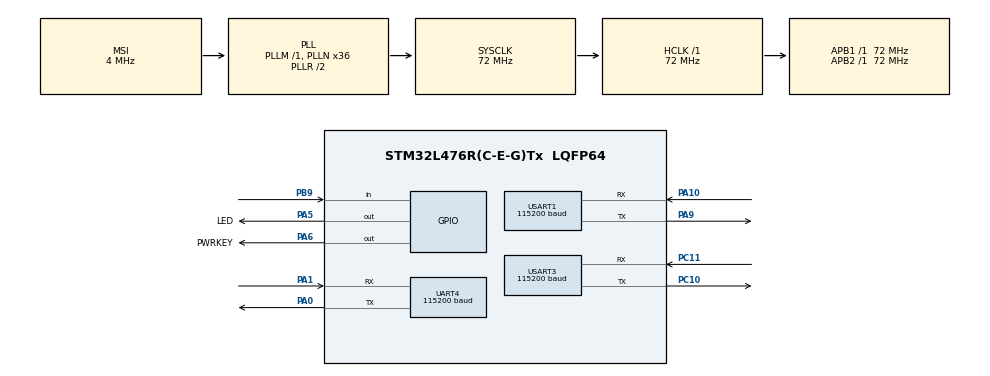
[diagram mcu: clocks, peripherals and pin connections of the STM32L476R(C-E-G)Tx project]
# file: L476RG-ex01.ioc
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Mcu.Family=STM32L4
RCC.MSI_VALUE=4000000
PA14\ (JTCK-SWCLK).Mode=Trace_Asynchronous_SW
RCC.CortexFreq_Value=72000000
PA10.Mode=Asynchronous
PH0-OSC_IN\ (PH0).Signal=RCC_OSC_IN
USART1.BaudRate=115200
PC10.Signal=USART3_TX
PC11.Signal=USART3_RX
PC10.Mode=Asynchronous
PC15-OSC32_OUT\ (PC15).Signal=RCC_OSC32_OUT
PA6.GPIO_Label=PWRKEY
PC15-OSC32_OUT\ (PC15).Mode=LSE-External-Oscillator
PH1-OSC_OUT\ (PH1).Signal=RCC_OSC_OUT
RCC.SYSCLKSource=RCC_SYSCLKSOURCE_PLLCLK
ProjectManager.StackSize=0x400
PB3\ (JTDO-TRACESWO).Signal=SYS_JTDO-SWO
PC14-OSC32_IN\ (PC14).Mode=LSE-External-Oscillator
USART3.VirtualMode-Asynchronous=VM_ASYNC
PA14\ (JTCK-SWCLK).Signal=SYS_JTCK-SWCLK
USART1.VirtualMode-Asynchronous=VM_ASYNC
PA9.Mode=Asynchronous
VP_SYS_VS_tim3.Mode=TIM3
USART3.BaudRate=115200
ProjectManager.TargetToolchain=STM32CubeIDE
UART4.BaudRate=115200
RCC.HCLKFreq_Value=72000000
RCC.APB2TimFreq_Value=72000000
PA9.Signal=USART1_TX
RCC.USBFreq_Value=16000000
PA1.Signal=UART4_RX
RCC.AHBFreq_Value=72000000
PA5.Signal=GPIO_Output
PH1-OSC_OUT\ (PH1).Mode=HSE-External-Oscillator
RCC.HSE_VALUE=8000000
board=custom
RCC.VCOOutputFreq_Value=144000000
NVIC.TIM3_IRQn=true\:5\:0\:true\:false\:true\:false\:true
RCC.APB2Freq_Value=72000000
PA1.Mode=Asynchronous
PB3\ (JTDO-TRACESWO).Mode=Trace_Asynchronous_SW
USART1.OverrunDisableParam=ADVFEATURE_OVERRUN_DISABLE
RCC.ADCFreq_Value=16000000
PA0.Mode=Asynchronous
Mcu.Name=STM32L476R(C-E-G)Tx
PA0.Signal=UART4_TX
PA13\ (JTMS-SWDIO).Mode=Trace_Asynchronous_SW
RCC.SYSCLKFreq_VALUE=72000000
Mcu.Package=LQFP64
PB9.Signal=GPIO_Input
PA6.Signal=GPIO_Output
NVIC.TimeBase=TIM3_IRQn
PA5.GPIO_Label=LED
PC14-OSC32_IN\ (PC14).Signal=RCC_OSC32_IN
NVIC.TimeBaseIP=TIM3
PA10.Signal=USART1_RX
ProjectManager.HeapSize=0x200
PC11.Mode=Asynchronous
USART1.DMADisableonRxErrorParam=ADVFEATURE_DMA_DISABLEONRXERROR
RCC.HSI_VALUE=16000000
USART3.DMADisableonRxErrorParam=ADVFEATURE_DMA_DISABLEONRXERROR
NVIC.PriorityGroup=NVIC_PRIORITYGROUP_4
RCC.PLLN=36
RCC.APB1TimFreq_Value=72000000
USART3.OverrunDisableParam=ADVFEATURE_OVERRUN_DISABLE
PA13\ (JTMS-SWDIO).Signal=SYS_JTMS-SWDIO
RCC.APB1Freq_Value=72000000
USART1.SwapParam=ADVFEATURE_SWAP_DISABLE
PH0-OSC_IN\ (PH0).Mode=HSE-External-Oscillator

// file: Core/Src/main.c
/* USER CODE BEGIN Header */
/**
  ******************************************************************************
  * @file           : main.c
  * @brief          : Main program body
  ******************************************************************************
  * @attention
  *
  * <h2><center>&copy; Copyright (c) 2021 STMicroelectronics.
  * All rights reserved.</center></h2>
  *
  * This software component is licensed by ST under BSD 3-Clause license,
  * the "License"; You may not use this file except in compliance with the
  * License. You may obtain a copy of the License at:
  *                        opensource.org/licenses/BSD-3-Clause
  *
  ******************************************************************************
  */
/* USER CODE END Header */
#include "main.h"

/* USER CODE BEGIN Includes */
#include <string.h> //strlen
#include <stdio.h> //printf
#include <stdlib.h> //printf
#include <stdbool.h>
#include <stdint.h>
#include <inttypes.h>

/* USER CODE END Includes */

/* USER CODE BEGIN PTD */
uint8_t debug = 1;
/* USER CODE END PTD */

UART_HandleTypeDef huart4;
UART_HandleTypeDef huart1;
UART_HandleTypeDef huart3;

void SystemClock_Config(void);
static void MX_GPIO_Init(void);
static void MX_UART4_Init(void);
static void MX_USART1_UART_Init(void);
static void MX_USART3_UART_Init(void);
/* USER CODE BEGIN PFP */
int _write(int file, char *ptr, int len)
 {
	 int DataIdx;
	 for (DataIdx = 0; DataIdx < len; DataIdx++)
	 {
		 ITM_SendChar(*ptr++);
	 }
	 HAL_Delay(500);
	 return len;
 }
//int _write(int file, char *ptr, int len){
//  HAL_UART_Transmit(&huart4, (uint8_t *)ptr, len, 0xff);
//  return len;
//}
/* USER CODE END PFP */

/* USER CODE BEGIN 0 */
int i=0,j=0,k=0,l=0;
int cnt1=0, cnt2=0, cnt3=0, cnt4=0, cnt5=0;
bool uart3done, uart4busy, uart3disc;
bool usemqtt,uart4done;
int cntpok=0;
int bugint;
char uart4_at[20];

char csq[20],cgatt[27];
uint8_t csqint,cgattint,smstateint,secmin1;
int signal;
char *networkstr;
char *smstatestr;
char *ATSMSTATE="AT+SMSTATE?\r\n";
char *ATSMPUB;
char * temp_data;
char * temp_data2;
uint8_t * uart_uint8t;

uint8_t rxavailable=0;

char uart1_temp[1100],uart1_buf[0],uart1_data[1100];
char uart3_temp[1100],uart3_buf[0],uart3_data[1100];
char uart4_temp[1100],uart4_buf[0],uart4_data[1100];
char uart5_temp[1100],uart5_buf[0],uart5_data[1100];
char buffer[1100], buffer_mdm[1100];
//char buffer1[1100];
//char buffer3[1100];
//char buffer4[1100];
//char buffer5[1100];

void SerialATprintln(char ptr[], uint32_t len, uint32_t timeout){
	uint8_t ptr1[len+2];
	memcpy(ptr1, ptr, len);
	ptr1[len]= '\r';
	ptr1[len+1]= '\n';
	HAL_UART_Transmit(&huart1, (uint8_t *) ptr1, len+2, timeout);
}

void hard_reset_mdm(){
	  HAL_GPIO_WritePin(PWRKEY_GPIO_Port, PWRKEY_Pin, GPIO_PIN_RESET);
	  HAL_Delay(1000);
	  HAL_GPIO_WritePin(PWRKEY_GPIO_Port, PWRKEY_Pin, GPIO_PIN_SET);
}

int datauart3size(char buf[])
{
	int i = 0;
	while(buf[i] != 0x03) i++;
	return i+1;
}

int bufsize(char *buf)
{
	int i = 0;
	while(*buf++ != '\0') i++;
	return i;
}

int bufsizechararray(char buf[])
{
	int i = 0;
	while(buf[i] != '\0') i++;
	return i+1;
}

//void bufclear(void)
//{
//	for (int i=0; i < 1024; i++)
//	{
//		buffer[i] = '\0';
//		mydata[i] = '\0';
//	}
//}

///////////////////// MODEM FUNCTION
void ATCOMMAND(char *command, char* res)
{
//	char respond[120] = {0};
//	char *ptr= strstr(respond,res);
//	while(ptr == NULL){
	memset(buffer,0,1100);
	HAL_UART_Transmit(&huart1,(uint8_t *)command,strlen(command),0xff);
	HAL_UART_Receive(&huart1,(uint8_t *)buffer,1100,500);
//	ptr = strstr(respond,res);
//	}
//	printf("%s\r\n",respond);
	printf(buffer);
	printf("\r\n");

}

void ATCOMMANDLong(char *command, char* res)
{

//	char *ptr= strstr(respond,res);
//	while(ptr == NULL){
	memset(buffer,0,1100);
	HAL_UART_Transmit(&huart1,(uint8_t *)command,strlen(command),0xff);
	HAL_UART_Receive(&huart1,(uint8_t *)buffer,1100,2000);
//	ptr = strstr(respond,res);
//	}
	printf(buffer);
	printf("\r\n");
}

void ATCOMMAND_IT(char *command)
{
	HAL_UART_Transmit(&huart1,(uint8_t *)command,strlen(command),0xff);
}

void modem_reset_rtos()
{
	printf("\r\nModem Reboot\r\n");

	SerialATprintln("AT+CREBOOT", 10, 0xff);
	osDelay(4000);
//	for(int y=0;y<40;y++){
//		osDelay(200);
//		if(uart2done)break;
//	}

	printf("\r\nNBIOT Setup\r\n");

	char at[]="AT\r\n";
	SerialATprintln(at,2,0xff);
	osDelay(1000);

	char cpin[]="AT+CPIN?";
	SerialATprintln(cpin,8,0xff);
	osDelay(1000);

	char csq[]="AT+CSQ";
	SerialATprintln(csq,6,0xff);
	osDelay(1000);

	char creg[]="AT+CREG=1";
	SerialATprintln(creg,9,0xff);
	osDelay(1000);

	char cgreg[]="AT+CGREG=1";
	SerialATprintln(cgreg,10,0xff);
	osDelay(1000);

	char cgatt1[]="AT+CGATT=1";
	SerialATprintln(cgatt1,9,0xff);
	osDelay(1000);

	char cgatt[]="AT+CGATT?";
	SerialATprintln(cgatt,9,0xff);
	osDelay(1000);

	char cops[]="AT+COPS?";
	SerialATprintln(cops,8,0xff);
	osDelay(1000);

	char cgnapn[]="AT+CGNAPN";
	SerialATprintln(cgnapn,9,0xff);
	osDelay(1000);

//	char cgdcont[]="AT+CGDCONT=1,\"IP\",\"internet\"\r\n";
	char cgdcont[]="AT+CGDCONT=1,\"IP\",\"nb1internet\"";
	SerialATprintln(cgdcont,31,0xff);
	osDelay(1000);

	char cgdcont1[]="AT+CGDCONT?";
	SerialATprintln(cgdcont1,11,0xff);
	osDelay(1000);

	char cnact1[]="AT+CNACT=0,1";
	SerialATprintln(cnact1,12,0xff);
	osDelay(1000);

	printf("NBIOT done\r\n");
}
void NBIOT_setup(void)
{
	printf("\r\nNBIOT setup\r\n");

	char at[]="AT\r\n";
	char at_cmp[] = "OK";
	ATCOMMAND(at,at_cmp);

//	char ate[]="ATE0\r\n";
//	char ate_cmp[] = "OK";
//	ATCOMMAND(ate,ate_cmp);

	char cpin[]="AT+CPIN?\r\n";
	char cpin_cmp[] = "+CPIN:";
	ATCOMMAND(cpin,cpin_cmp);

	char csq[]="AT+CSQ\r\n";
	char csq_cmp[] = "+CSQ:";
	ATCOMMAND(csq,csq_cmp);

	char creg[]="AT+CREG?\r\n";
	char creg_cmp[] = "+CREG";
	ATCOMMAND(creg,creg_cmp);

	char cgreg[]="AT+CGREG?\r\n";
	char cgreg_cmp[] = "+CGREG";
	ATCOMMAND(cgreg,cgreg_cmp);

//	char cgatt1[]="AT+CGATT=1\r\n";
//	char cgatt1_cmp[] = "+CGATT";
//	ATCOMMAND(cgatt1,cgatt1_cmp);

	char cgatt[]="AT+CGATT?\r\n";
	char cgatt_cmp[] = "+CGATT:";
	ATCOMMAND(cgatt,cgatt_cmp);

	char cops[]="AT+COPS?\r\n";
	char cops_cmp[] = "+COPS:";
	ATCOMMAND(cops,cops_cmp);

	bearer_config();

	http_request();

	printf("NBIOT done\r\n");
}

void NBIOT_setup_IT(void)
{
	printf("\r\nNBIOT setup\r\n");

	SerialATprintln("AT",2,0xff);
	HAL_Delay(500);

	SerialATprintln("AT+CPIN",7,0xff);
	HAL_Delay(500);

	SerialATprintln("AT+CSQ",6,0xff);
	HAL_Delay(500);
/*
	SerialATprintln("AT+CREG=1",9,0xff);
	HAL_Delay(500);

	SerialATprintln("AT+CGREG=1",10,0xff);
	HAL_Delay(500);

	SerialATprintln("AT+CGATT=1",10,0xff);
	HAL_Delay(500);

	SerialATprintln("AT+CGATT?",9,0xff);
	HAL_Delay(500);

	SerialATprintln("AT+COPS?",8,0xff);
	HAL_Delay(500);

	char cgnapn[]="AT+CGNAPN\r\n";
	char cgnapn_cmp[] = "+CGNAPN:";
	SerialATprintln("AT+CGNAPN",9,0xff);
	HAL_Delay(500);

//	char cgdcont[]="AT+CGDCONT=1,\"IP\",\"internet\"\r\n";
	SerialATprintln("AT+CGDCONT=1,\"IP\",\"nb1internet\"",31,0xff);
	HAL_Delay(500);

	SerialATprintln("AT+CGDCONT?",11,0xff);
	HAL_Delay(500);

	SerialATprintln("AT+CGNACT=0,1",13,0xff);
	HAL_Delay(500);
*/
	printf("NBIOT done\r\n");
}

void bearer_config(void)
{
	printf("\r\nBearer setup\r\n");

	memset(uart4_at,0,20);
//	char at[]="AT\r\n";
////	ATCOMMAND_IT(at);
//	ATCOMMAND(at,at);
//	HAL_Delay(1000);

	char cgatt[]="AT+CGATT?\r\n";
//	ATCOMMAND_IT(cgatt);
	ATCOMMAND(cgatt,cgatt);
	HAL_Delay(1000);

	char csq[]="AT+SAPBR=0,1\r\n";
//	ATCOMMAND_IT(csq);
	ATCOMMAND(csq,csq);
	HAL_Delay(500);

	char ate[]="AT+SAPBR=3,1,\"Contype\",\"GPRS\"\r\n";
//	ATCOMMAND_IT(ate);
	ATCOMMAND(ate,ate);
	HAL_Delay(500);

	char cpin[]="AT+SAPBR=3,1,\"APN\",\"nb1internet\"\r\n";
//	ATCOMMAND_IT(cpin);
	ATCOMMAND(cpin,cpin);
	HAL_Delay(500);

	char creg[]="AT+SAPBR=1,1\r\n";
//	ATCOMMAND_IT(creg);
//	ATCOMMAND(creg,creg);
	ATCOMMANDLong(creg,creg);
	HAL_Delay(500);

	char cgreg[]="AT+SAPBR=2,1\r\n";
//	ATCOMMAND_IT(cgreg);
//	ATCOMMAND(cgreg,cgreg);
	ATCOMMANDLong(cgreg,cgreg);
	HAL_Delay(500);

	printf("Bearer Config done\r\n");
}

void http_request(void)
{
	printf("\r\nHTTP Request\r\n");

	memset(uart4_at,0,20);
//	char at[]="AT\r\n";
//	char at_cmp[] = "OK";
////	ATCOMMAND_IT(at);
//	ATCOMMAND(at,at);
//	HAL_Delay(1000);

	char cgatt[]="AT+HTTPINIT\r\n";
	char cgatt_cmp[] = "+CGATT:";
//	ATCOMMAND_IT(cgatt);
	ATCOMMAND(cgatt,cgatt);
	HAL_Delay(500);

	char ate[]="AT+HTTPPARA=\"CID\",1\r\n";
//	ATCOMMAND_IT(ate);
	ATCOMMAND(ate,ate);
	HAL_Delay(1000);

	char cpin[]="AT+HTTPPARA=\"URL\",\"www.flexisolve.com/bs/index.php/sensor/testing\"\r\n";
//	ATCOMMAND_IT(cpin);
	ATCOMMANDLong(cpin,cpin);
//	HAL_Delay(500);

	char csq[]="AT+HTTPACTION=0\r\n";
//	ATCOMMAND_IT(csq);
	ATCOMMANDLong(csq,csq);
	HAL_Delay(3000);

//	sprintf(uart4_at,"AT+HTTPREAD");
	char creg[]="AT+HTTPREAD\r\n";
//	ATCOMMAND_IT(creg);
	ATCOMMANDLong(creg,creg);
	HAL_Delay(2000);

	char cgreg[]="AT+HTTPTERM\r\n";
	//	ATCOMMAND_IT(cgreg);
	ATCOMMAND(cgreg,cgreg);
	HAL_Delay(1000);

	printf("HTTP REQ done\r\n");
}

/* USER CODE END 0 */

int main(void)
{
  /* USER CODE BEGIN 1 */
//	int x;
  /* USER CODE END 1 */

  /* MCU Configuration--------------------------------------------------------*/

  /* Reset of all peripherals, Initializes the Flash interface and the Systick. */
  HAL_Init();

  /* Configure the system clock */
  SystemClock_Config();

  /* Initialize all configured peripherals */
  MX_GPIO_Init();
  MX_UART4_Init();
  MX_USART1_UART_Init();
  MX_USART3_UART_Init();
  /* USER CODE BEGIN 2 */
  if(debug==1) printf("START\r\n please wait Modem Starting in 10s\r\n");
//  HAL_UART_Transmit(&huart4, "START\r\n",7,10);
  hard_reset_mdm();
  HAL_UART_Receive(&huart1,buffer_mdm,1100,10000);
  printf(buffer_mdm);
  HAL_Delay(1000);
  memset(buffer_mdm,0,1100);
//  NBIOT_setup();
  //enable uart interrupt
//  HAL_UART_Receive_IT(&huart1,(uint8_t *)uart1_buf,1);
//  HAL_UART_Receive_IT(&huart3,(uint8_t *)uart3_buf,1);
//  HAL_UART_Receive_IT(&huart4,(uint8_t *)uart4_buf,1);
//  HAL_UART_Receive_IT(&huart5,(uint8_t *)uart5_buf,1);
  HAL_GPIO_TogglePin(LED_GPIO_Port, LED_Pin);
  HAL_Delay(1000);
  HAL_GPIO_TogglePin(LED_GPIO_Port, LED_Pin);
  HAL_Delay(1000);
//  HAL_UART_Transmit(&huart1, "AT\r\n",4,10);
//  HAL_UART_Transmit(&huart3, "AT\r\n",4,10);
//  HAL_UART_Transmit(&huart4, "AT\r\n",4,10);
//  HAL_UART_Transmit(&huart5, "A5\r\n",4,10);
//  if(debug==1) printf("GO\r\n");
//  hard_reset_mdm();
//  NBIOT_setup_IT();
//  MQTT_setup();
  /* USER CODE END 2 */

  /* Infinite loop */
  /* USER CODE BEGIN WHILE */
  while (1)
  {
	  HAL_GPIO_TogglePin(LED_GPIO_Port, LED_Pin);
//	  if(rxavailable>0){
//		  printf(buffer);
//		  memset(buffer,0,1100);
//		  rxavailable=0;
//	  }
//	  else {
	  memset(uart4_at,0,20);
	  sprintf(uart4_at,"AT+CPSI?\r\n");
//	  printf(uart4_at);
//	  HAL_Delay(500);
//	  printf((uint8_t *)uart4_at);
//	  HAL_Delay(500);
//	  sprintf(uart4_at,"AT+CPSI?");
//	  HAL_UART_Transmit(&huart1, "AT+CPSI?\r\n",10,10);
	  memset(buffer,0,1100);
	  if(HAL_UART_Transmit(&huart1, uart4_at,10,100)==HAL_OK){
		  bugint = HAL_UART_Receive(&huart1,buffer,1100,2000);
	  }
	  printf(buffer);
	  HAL_Delay(1000);
	  memset(buffer,0,1100);
	  if(cnt1==0) NBIOT_setup();
	  else {
		  printf("%d",cnt1);
		 http_request();
		 if(cnt1>=5) cnt1=-1;
	  }
	  cnt1++;
//	  bearer_config();
//	  HAL_Delay(500);
	  HAL_UART_Transmit(&huart3, "AT\r\n",4,10);
	  HAL_UART_Receive(&huart3,buffer,1100,3000);
	  printf(buffer);
	  HAL_Delay(500);
	  memset(buffer,0,1100);
//	  HAL_UART_Transmit(&huart4, "AT\r\n",4,10);
//	  HAL_UART_Receive(&huart4,buffer,1100,1000);
//	  printf(buffer);
//	  HAL_Delay(500);
//	  memset(buffer,0,1100);
	  HAL_Delay(500);
//	  }
//	  switch(rxavailable){
//	  case 1 :	HAL_UART_Transmit(&huart5, (uint8_t *)uart1_data,strlen(uart1_data),500);
//		  	  	memset(uart1_data,0,1100);
//		  	  	rxavailable=0;
//		  	  	break;
//	  case 3 :	HAL_UART_Transmit(&huart5, (uint8_t *)uart3_data,strlen(uart3_data),500);
//		  	  	memset(uart3_data,0,1100);
//		  	  	rxavailable=0;
//		  	  	break;
//	  case 4 :	HAL_UART_Transmit(&huart5, (uint8_t *)uart4_data,strlen(uart4_data),500);
//		  	  	memset(uart4_data,0,1100);
//		  	  	rxavailable=0;
//		  	  	break;
//	  case 5 :	HAL_UART_Transmit(&huart3, (uint8_t *)uart5_data,strlen(uart5_data),500);
//		  	  	memset(uart5_data,0,1100);
//		  	  	rxavailable=0;
//		  	  	break;
//	  default : rxavailable=0;
//	  	  	  	break;
//	  }
//	  printf("%d Hello World!\r\n", ++x);
//	  HAL_UART_Transmit(&huart1, "AT1\r\n",5,10);
////	  HAL_UART_Transmit(&huart2, "AT2\r\n",5,10);
//	  HAL_UART_Transmit(&huart3, "AT\r\n",4,10);
//	  HAL_UART_Transmit(&huart4, "AT4\r\n",5,10);
//	  HAL_UART_Transmit(&huart5, "AT5\r\n",5,10);
//	  HAL_UART_Transmit(&hlpuart1, "ATLP\r\n",6,10);
	  HAL_Delay(1000);
    /* USER CODE END WHILE */

  }
}

void SystemClock_Config(void)
{
  RCC_OscInitTypeDef RCC_OscInitStruct = {0};
  RCC_ClkInitTypeDef RCC_ClkInitStruct = {0};
  RCC_PeriphCLKInitTypeDef PeriphClkInit = {0};

  /** Configure LSE Drive Capability
  */
  HAL_PWR_EnableBkUpAccess();
  __HAL_RCC_LSEDRIVE_CONFIG(RCC_LSEDRIVE_LOW);
  /** Initializes the RCC Oscillators according to the specified parameters
  * in the RCC_OscInitTypeDef structure.
  */
  RCC_OscInitStruct.OscillatorType = RCC_OSCILLATORTYPE_LSE|RCC_OSCILLATORTYPE_MSI;
  RCC_OscInitStruct.LSEState = RCC_LSE_ON;
  RCC_OscInitStruct.MSIState = RCC_MSI_ON;
  RCC_OscInitStruct.MSICalibrationValue = 0;
  RCC_OscInitStruct.MSIClockRange = RCC_MSIRANGE_6;
  RCC_OscInitStruct.PLL.PLLState = RCC_PLL_ON;
  RCC_OscInitStruct.PLL.PLLSource = RCC_PLLSOURCE_MSI;
  RCC_OscInitStruct.PLL.PLLM = 1;
  RCC_OscInitStruct.PLL.PLLN = 36;
  RCC_OscInitStruct.PLL.PLLP = RCC_PLLP_DIV7;
  RCC_OscInitStruct.PLL.PLLQ = RCC_PLLQ_DIV2;
  RCC_OscInitStruct.PLL.PLLR = RCC_PLLR_DIV2;
  if (HAL_RCC_OscConfig(&RCC_OscInitStruct) != HAL_OK)
  {
    Error_Handler();
  }
  /** Initializes the CPU, AHB and APB buses clocks
  */
  RCC_ClkInitStruct.ClockType = RCC_CLOCKTYPE_HCLK|RCC_CLOCKTYPE_SYSCLK
                              |RCC_CLOCKTYPE_PCLK1|RCC_CLOCKTYPE_PCLK2;
  RCC_ClkInitStruct.SYSCLKSource = RCC_SYSCLKSOURCE_PLLCLK;
  RCC_ClkInitStruct.AHBCLKDivider = RCC_SYSCLK_DIV1;
  RCC_ClkInitStruct.APB1CLKDivider = RCC_HCLK_DIV1;
  RCC_ClkInitStruct.APB2CLKDivider = RCC_HCLK_DIV1;

  if (HAL_RCC_ClockConfig(&RCC_ClkInitStruct, FLASH_LATENCY_4) != HAL_OK)
  {
    Error_Handler();
  }
  PeriphClkInit.PeriphClockSelection = RCC_PERIPHCLK_USART1|RCC_PERIPHCLK_USART3
                              |RCC_PERIPHCLK_UART4;
  PeriphClkInit.Usart1ClockSelection = RCC_USART1CLKSOURCE_PCLK2;
  PeriphClkInit.Usart3ClockSelection = RCC_USART3CLKSOURCE_PCLK1;
  PeriphClkInit.Uart4ClockSelection = RCC_UART4CLKSOURCE_PCLK1;
  if (HAL_RCCEx_PeriphCLKConfig(&PeriphClkInit) != HAL_OK)
  {
    Error_Handler();
  }
  /** Configure the main internal regulator output voltage
  */
  if (HAL_PWREx_ControlVoltageScaling(PWR_REGULATOR_VOLTAGE_SCALE1) != HAL_OK)
  {
    Error_Handler();
  }
  /** Enable MSI Auto calibration
  */
  HAL_RCCEx_EnableMSIPLLMode();
}

static void MX_UART4_Init(void)
{

  huart4.Instance = UART4;
  huart4.Init.BaudRate = 115200;
  huart4.Init.WordLength = UART_WORDLENGTH_8B;
  huart4.Init.StopBits = UART_STOPBITS_1;
  huart4.Init.Parity = UART_PARITY_NONE;
  huart4.Init.Mode = UART_MODE_TX_RX;
  huart4.Init.HwFlowCtl = UART_HWCONTROL_NONE;
  huart4.Init.OverSampling = UART_OVERSAMPLING_16;
  huart4.Init.OneBitSampling = UART_ONE_BIT_SAMPLE_DISABLE;
  huart4.AdvancedInit.AdvFeatureInit = UART_ADVFEATURE_NO_INIT;
  if (HAL_UART_Init(&huart4) != HAL_OK)
  {
    Error_Handler();
  }

}

static void MX_USART1_UART_Init(void)
{

  huart1.Instance = USART1;
  huart1.Init.BaudRate = 115200;
  huart1.Init.WordLength = UART_WORDLENGTH_8B;
  huart1.Init.StopBits = UART_STOPBITS_1;
  huart1.Init.Parity = UART_PARITY_NONE;
  huart1.Init.Mode = UART_MODE_TX_RX;
  huart1.Init.HwFlowCtl = UART_HWCONTROL_NONE;
  huart1.Init.OverSampling = UART_OVERSAMPLING_16;
  huart1.Init.OneBitSampling = UART_ONE_BIT_SAMPLE_DISABLE;
  huart1.AdvancedInit.AdvFeatureInit = UART_ADVFEATURE_RXOVERRUNDISABLE_INIT|UART_ADVFEATURE_DMADISABLEONERROR_INIT;
  huart1.AdvancedInit.OverrunDisable = UART_ADVFEATURE_OVERRUN_DISABLE;
  huart1.AdvancedInit.DMADisableonRxError = UART_ADVFEATURE_DMA_DISABLEONRXERROR;
  if (HAL_UART_Init(&huart1) != HAL_OK)
  {
    Error_Handler();
  }

}

static void MX_USART3_UART_Init(void)
{

  huart3.Instance = USART3;
  huart3.Init.BaudRate = 115200;
  huart3.Init.WordLength = UART_WORDLENGTH_8B;
  huart3.Init.StopBits = UART_STOPBITS_1;
  huart3.Init.Parity = UART_PARITY_NONE;
  huart3.Init.Mode = UART_MODE_TX_RX;
  huart3.Init.HwFlowCtl = UART_HWCONTROL_NONE;
  huart3.Init.OverSampling = UART_OVERSAMPLING_16;
  huart3.Init.OneBitSampling = UART_ONE_BIT_SAMPLE_DISABLE;
  huart3.AdvancedInit.AdvFeatureInit = UART_ADVFEATURE_RXOVERRUNDISABLE_INIT|UART_ADVFEATURE_DMADISABLEONERROR_INIT;
  huart3.AdvancedInit.OverrunDisable = UART_ADVFEATURE_OVERRUN_DISABLE;
  huart3.AdvancedInit.DMADisableonRxError = UART_ADVFEATURE_DMA_DISABLEONRXERROR;
  if (HAL_UART_Init(&huart3) != HAL_OK)
  {
    Error_Handler();
  }

}

static void MX_GPIO_Init(void)
{
  GPIO_InitTypeDef GPIO_InitStruct = {0};

  /* GPIO Ports Clock Enable */
  __HAL_RCC_GPIOC_CLK_ENABLE();
  __HAL_RCC_GPIOH_CLK_ENABLE();
  __HAL_RCC_GPIOA_CLK_ENABLE();
  __HAL_RCC_GPIOB_CLK_ENABLE();

  /*Configure GPIO pin Output Level */
  HAL_GPIO_WritePin(GPIOA, LED_Pin|PWRKEY_Pin, GPIO_PIN_RESET);

  /*Configure GPIO pins : LED_Pin PWRKEY_Pin */
  GPIO_InitStruct.Pin = LED_Pin|PWRKEY_Pin;
  GPIO_InitStruct.Mode = GPIO_MODE_OUTPUT_PP;
  GPIO_InitStruct.Pull = GPIO_NOPULL;
  GPIO_InitStruct.Speed = GPIO_SPEED_FREQ_LOW;
  HAL_GPIO_Init(GPIOA, &GPIO_InitStruct);

  /*Configure GPIO pin : PB9 */
  GPIO_InitStruct.Pin = GPIO_PIN_9;
  GPIO_InitStruct.Mode = GPIO_MODE_INPUT;
  GPIO_InitStruct.Pull = GPIO_NOPULL;
  HAL_GPIO_Init(GPIOB, &GPIO_InitStruct);

}

/* USER CODE BEGIN 4 */
void HAL_UART_RxCpltCallback(UART_HandleTypeDef *huart)
{
  /* Prevent unused argument(s) compilation warning */
	if(huart == &huart4)
	{
		uart4_temp[k]=uart4_buf[0]; //store byte in temp buffer
		if(k>6){
			if(uart4_temp[k]=='\n' && (uart4_temp[k-3] == 'O' && uart4_temp[k-2] == 'K') || (uart4_temp[k-3] == 'O' && uart4_temp[k-2] == 'R')){
				if(debug==1) printf(uart4_temp);
				rxavailable=4;
				uart4done = true;
				uart4busy = false;
				int cmpint=strcmp(uart4_at,"AT+CPSI?");
				/*
				if(cmpint==0){
					uart4_temp[k] = 0;
					uart4_temp[k-1] = 0;
					uart4_temp[k-2] = 0;
					uart4_temp[k-3] = 0;
					uart4_temp[k-4] = 0;
					uart4_temp[k-5] = 0;
					k=k-5;
					char *token = strtok(uart4_temp, "\n");
					token = strtok(NULL, " ");
					token = strtok(NULL, ",");
					strcpy(networkstr,token);
					strcpy(temp_data2,token);
//					printf("net: %s\n",networkstr);
					if(debug==1)printf(token);
					if(debug==1)printf("\r\n");

					if(k<82 && k>60){
						for(int y=0;y<6;y++){
							token = strtok(NULL, ",");
//								printf(" %s ",token);
						}
						if(debug==1)printf(token);
						if(debug==1)printf("\r\n");
						signal = atoi(token);
//						printf("sig: %d\n",signal);
					}
					else {
						for(int y=0;y<11;y++){
							token = strtok(NULL, ",");
//								printf(" %s ",token);
						}
						if(debug==1)printf(token);
						if(debug==1)printf("\r\n");
						signal = atoi(token);
//						printf("sig: %d\n",signal);
					}
					memset(uart4_at,0,20);
				}*/
				memcpy(buffer_mdm,uart4_temp,strlen(uart4_temp));
				memset(uart4_temp,0,1100);
				k=0;
			}
			/* Receive Network Time Protocol and Sync RTC Time with NTP */
			else if(k>29){
				if(uart4_temp[k-29] == 'C' && uart4_temp[k-28] == 'N' && uart4_temp[k-27] == 'T' && uart4_temp[k-26] == 'P' && uart4_temp[k-25] == ':'  && uart4_temp[k-23] == '1')
					{
					if(debug==1) printf(uart4_temp);
					cntpok=2; // cntp berhasil
						printf("insert rtc date\n");
						printf("%s\n", uart4_temp);
//						set_rtc_time(uart4_temp);
						uart4done = true;
						uart4busy = false;
						memset(uart4_temp,0,1100);
						j=0;
					}
				if(uart4_temp[j-28] == 'C' && uart4_temp[k-27] == 'C' && uart4_temp[k-26] == 'L' && uart4_temp[k-25] == 'K' && uart4_temp[k-24] == ':')
					{
					if(debug==1) printf(uart4_temp);
						cntpok=2; // cntp berhasil
						printf("insert rtc date CCLK\r\n");
						printf("%s\n", uart4_temp);
//						set_rtc_time_cclk(uart4_temp);
						uart4done = true;
						uart4busy = false;
						memset(uart4_temp,0,1100);
						k=0;
					}
				else if(j>1099){
					if(debug==1)printf("%s\r\n",uart4_temp);
					memset(uart4_temp,0,1100);
					k=0;
				}
				else
					k++;
			}
			else if(k>1099){
				if(debug==1)printf("%s\r\n",uart4_temp);
				memset(uart4_temp,0,1100);
				k=0;
			}
			else {
				k++;
			}
		}
		else if(uart4_temp[k] == '>')
		{
//						HAL_UART_Transmit(&huart1, (uint8_t *)uart4_temp, strlen(uart4_temp),0xff);
			if(debug==1)printf("%s\r\n",uart4_temp);
			uart4done = true;
			uart4busy = false;
			memset(uart4_temp,0,1100);
			k=0;
		}
		else if(k>1099){
			if(debug==1)printf("%s\r\n",uart4_temp);
			memset(uart4_temp,0,1100);
			k=0;
		}
		else {
			k++;
		}
		HAL_UART_Receive_IT(&huart4,(uint8_t *)uart4_buf,1);
	}
//	if(huart == &huart5)
//		{
//			uart5_temp[l]=uart5_buf[0]; //store byte in temp buffer
//			if(uart5_temp[l]=='\n'){
//				if(debug==1) printf(uart5_temp);
//				HAL_Delay(10);
//				rxavailable=5;
//				memcpy(uart5_data,uart5_temp,strlen(uart5_temp));
//				HAL_UART_Transmit(&huart4,(uint8_t *)uart5_temp,l+1,200);
//				memset(uart5_temp,0,strlen(uart5_temp));
//				l=0;
//			}
//			else {
//				l++;
//			}
//			HAL_UART_Receive_IT(&huart5,(uint8_t *)uart5_buf,1);
//		}
	/*
	if(huart == &huart3)
	{
		uart3_temp[j]=uart3_buf[0]; //store byte in temp buffer
		if(uart3_temp[j]=='\n'){
			if(debug==1) printf(uart3_temp);
			rxavailable=3;
			HAL_Delay(10);
			memcpy(uart3_data,uart3_temp,strlen(uart3_temp));
//			HAL_UART_Transmit(&huart5,(uint8_t *)uart3_temp,j+1,200);
			memset(uart3_temp,0,strlen(uart3_temp));
			j=0;
		}
		else {
			j++;
		}
		HAL_UART_Receive_IT(&huart3,(uint8_t *)uart3_buf,1);
	}
	if(huart == &huart1)
	{
		uart1_temp[i]=uart1_buf[0]; //store byte in temp buffer
		if(uart1_temp[i]=='\n'){
			if(debug==1) printf(uart1_temp);
			rxavailable=1;
			memcpy(uart1_data,uart1_temp,strlen(uart1_temp));
			HAL_UART_Transmit(&huart1,(uint8_t *)uart1_temp,i+1,20);
			memset(uart1_temp,0,strlen(uart1_temp));
			i=0;
		}
		else {
			i++;
		}
		HAL_UART_Receive_IT(&huart1,(uint8_t *)uart1_buf,1);
	}
*/
	/* NOTE : This function should not be modified, when the callback is needed,
            the HAL_UART_RxCpltCallback can be implemented in the user file.
   */
}

/* USER CODE END 4 */

 /**
  * @brief  Period elapsed callback in non blocking mode
  * @note   This function is called  when TIM3 interrupt took place, inside
  * HAL_TIM_IRQHandler(). It makes a direct call to HAL_IncTick() to increment
  * a global variable "uwTick" used as application time base.
  * @param  htim : TIM handle
  * @retval None
  */
void HAL_TIM_PeriodElapsedCallback(TIM_HandleTypeDef *htim)
{
  if (htim->Instance == TIM3) {
    HAL_IncTick();
  }
}

void Error_Handler(void)
{
  __disable_irq();
  while (1)
  {
  }
}

/************************ (C) COPYRIGHT STMicroelectronics *****END OF FILE****/
